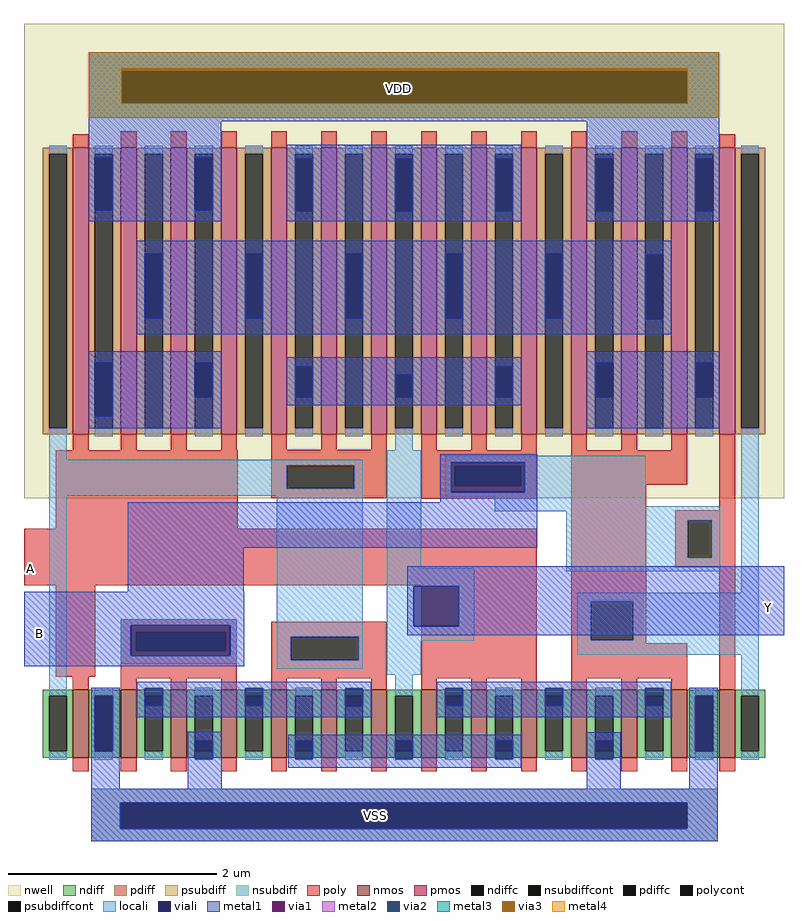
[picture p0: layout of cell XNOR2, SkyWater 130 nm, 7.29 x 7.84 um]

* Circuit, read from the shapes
.subckt XNOR2 A B VSS VDD Y
XM1 VSS A n1 VSS sky130_fd_pr__nfet_01v8 w=0.65 l=0.15
XM2 n2 B VSS VSS sky130_fd_pr__nfet_01v8 w=0.65 l=0.15 m=3
XM3 Y n1 n2 VSS sky130_fd_pr__nfet_01v8 w=0.65 l=0.15 m=3
XM4 n3 A Y VSS sky130_fd_pr__nfet_01v8 w=0.65 l=0.15 m=3
XM5 VSS n4 n3 VSS sky130_fd_pr__nfet_01v8 w=0.65 l=0.15 m=3
XM6 n4 B VSS VSS sky130_fd_pr__nfet_01v8 w=0.65 l=0.15
XM7 VDD A n1 VDD sky130_fd_pr__pfet_01v8 w=2.75 l=0.15
XM8 n5 A VDD VDD sky130_fd_pr__pfet_01v8 w=2.75 l=0.15 m=3
XM9 Y n1 n5 VDD sky130_fd_pr__pfet_01v8 w=2.75 l=0.15 m=3
XM10 n5 B Y VDD sky130_fd_pr__pfet_01v8 w=2.75 l=0.15 m=3
XM11 VDD n4 n5 VDD sky130_fd_pr__pfet_01v8 w=2.75 l=0.15 m=3
XM12 n4 B VDD VDD sky130_fd_pr__pfet_01v8 w=2.75 l=0.15
.ends

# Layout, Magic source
magic
tech sky130B
magscale 1 2
<< nwell >>
rect -87 864 1371 1775
<< nmos >>
rect 7 367 37 497
rect 99 367 129 497
rect 195 367 225 497
rect 291 367 321 497
rect 387 367 417 497
rect 483 367 513 497
rect 579 367 609 497
rect 675 367 705 497
rect 771 367 801 497
rect 867 367 897 497
rect 963 367 993 497
rect 1059 367 1089 497
rect 1155 367 1185 497
rect 1247 367 1277 497
<< pmos >>
rect 7 987 37 1537
rect 99 987 129 1537
rect 195 987 225 1537
rect 291 987 321 1537
rect 387 987 417 1537
rect 483 987 513 1537
rect 579 987 609 1537
rect 675 987 705 1537
rect 771 987 801 1537
rect 867 987 897 1537
rect 963 987 993 1537
rect 1059 987 1089 1537
rect 1155 987 1185 1537
rect 1247 987 1277 1537
<< ndiff >>
rect -51 485 7 497
rect -51 379 -39 485
rect -5 379 7 485
rect -51 367 7 379
rect 37 485 99 497
rect 37 379 49 485
rect 83 379 99 485
rect 37 367 99 379
rect 129 485 195 497
rect 129 379 145 485
rect 179 379 195 485
rect 129 367 195 379
rect 225 485 291 497
rect 225 379 241 485
rect 275 379 291 485
rect 225 367 291 379
rect 321 485 387 497
rect 321 379 337 485
rect 371 379 387 485
rect 321 367 387 379
rect 417 485 483 497
rect 417 379 433 485
rect 467 379 483 485
rect 417 367 483 379
rect 513 485 579 497
rect 513 379 529 485
rect 563 379 579 485
rect 513 367 579 379
rect 609 485 675 497
rect 609 379 625 485
rect 659 379 675 485
rect 609 367 675 379
rect 705 485 771 497
rect 705 379 721 485
rect 755 379 771 485
rect 705 367 771 379
rect 801 485 867 497
rect 801 379 817 485
rect 851 379 867 485
rect 801 367 867 379
rect 897 485 963 497
rect 897 379 913 485
rect 947 379 963 485
rect 897 367 963 379
rect 993 485 1059 497
rect 993 379 1009 485
rect 1043 379 1059 485
rect 993 367 1059 379
rect 1089 485 1155 497
rect 1089 379 1105 485
rect 1139 379 1155 485
rect 1089 367 1155 379
rect 1185 485 1247 497
rect 1185 379 1201 485
rect 1235 379 1247 485
rect 1185 367 1247 379
rect 1277 485 1335 497
rect 1277 379 1289 485
rect 1323 379 1335 485
rect 1277 367 1335 379
<< pdiff >>
rect -51 1525 7 1537
rect -51 999 -39 1525
rect -5 999 7 1525
rect -51 987 7 999
rect 37 1525 99 1537
rect 37 999 49 1525
rect 83 999 99 1525
rect 37 987 99 999
rect 129 1525 195 1537
rect 129 999 145 1525
rect 179 999 195 1525
rect 129 987 195 999
rect 225 1525 291 1537
rect 225 999 241 1525
rect 275 999 291 1525
rect 225 987 291 999
rect 321 1525 387 1537
rect 321 999 337 1525
rect 371 999 387 1525
rect 321 987 387 999
rect 417 1525 483 1537
rect 417 999 433 1525
rect 467 999 483 1525
rect 417 987 483 999
rect 513 1525 579 1537
rect 513 999 529 1525
rect 563 999 579 1525
rect 513 987 579 999
rect 609 1525 675 1537
rect 609 999 625 1525
rect 659 999 675 1525
rect 609 987 675 999
rect 705 1525 771 1537
rect 705 999 721 1525
rect 755 999 771 1525
rect 705 987 771 999
rect 801 1525 867 1537
rect 801 999 817 1525
rect 851 999 867 1525
rect 801 987 867 999
rect 897 1525 963 1537
rect 897 999 913 1525
rect 947 999 963 1525
rect 897 987 963 999
rect 993 1525 1059 1537
rect 993 999 1009 1525
rect 1043 999 1059 1525
rect 993 987 1059 999
rect 1089 1525 1155 1537
rect 1089 999 1105 1525
rect 1139 999 1155 1525
rect 1089 987 1155 999
rect 1185 1525 1247 1537
rect 1185 999 1201 1525
rect 1235 999 1247 1525
rect 1185 987 1247 999
rect 1277 1525 1335 1537
rect 1277 999 1289 1525
rect 1323 999 1335 1525
rect 1277 987 1335 999
<< ndiffc >>
rect -39 379 -5 485
rect 49 379 83 485
rect 145 379 179 485
rect 241 379 275 485
rect 337 379 371 485
rect 433 379 467 485
rect 529 379 563 485
rect 625 379 659 485
rect 721 379 755 485
rect 817 379 851 485
rect 913 379 947 485
rect 1009 379 1043 485
rect 1105 379 1139 485
rect 1201 379 1235 485
rect 1289 379 1323 485
<< pdiffc >>
rect -39 999 -5 1525
rect 49 999 83 1525
rect 145 999 179 1525
rect 241 999 275 1525
rect 337 999 371 1525
rect 433 999 467 1525
rect 529 999 563 1525
rect 625 999 659 1525
rect 721 999 755 1525
rect 817 999 851 1525
rect 913 999 947 1525
rect 1009 999 1043 1525
rect 1105 999 1139 1525
rect 1201 999 1235 1525
rect 1289 999 1323 1525
<< psubdiff >>
rect 42 280 1244 307
rect 42 230 98 280
rect 1185 230 1244 280
rect 42 206 1244 230
<< nsubdiff >>
rect 37 1683 1247 1720
rect 37 1622 100 1683
rect 1186 1622 1247 1683
rect 37 1594 1247 1622
<< psubdiffcont >>
rect 98 230 1185 280
<< nsubdiffcont >>
rect 100 1622 1186 1683
<< poly >>
rect 7 1537 37 1563
rect 99 1537 129 1568
rect 195 1537 225 1568
rect 291 1537 321 1568
rect 387 1537 417 1568
rect 483 1537 513 1568
rect 579 1537 609 1568
rect 675 1537 705 1568
rect 771 1537 801 1568
rect 867 1537 897 1568
rect 963 1537 993 1568
rect 1059 1537 1089 1568
rect 1155 1537 1185 1568
rect 1247 1537 1277 1563
rect 7 956 37 987
rect 99 956 129 987
rect 195 956 225 987
rect 291 956 321 987
rect 387 957 417 987
rect 483 957 513 987
rect 579 957 609 987
rect -26 806 323 956
rect 387 928 609 957
rect 387 883 417 928
rect 547 883 609 928
rect 387 864 609 883
rect 675 956 705 987
rect 771 956 801 987
rect 867 956 897 987
rect 675 926 897 956
rect 675 888 739 926
rect 866 888 897 926
rect 675 863 897 888
rect 963 956 993 987
rect 1059 956 1089 987
rect 1155 956 1185 987
rect 963 890 1185 956
rect -87 697 897 806
rect -26 522 50 697
rect 99 607 321 632
rect 99 572 128 607
rect 300 572 321 607
rect 7 497 37 522
rect 99 519 321 572
rect 99 497 129 519
rect 195 497 225 519
rect 291 497 321 519
rect 387 599 609 627
rect 387 554 425 599
rect 555 554 609 599
rect 387 519 609 554
rect 387 497 417 519
rect 483 497 513 519
rect 579 497 609 519
rect 675 519 897 697
rect 675 497 705 519
rect 771 497 801 519
rect 867 497 897 519
rect 963 667 1107 890
rect 1247 841 1277 987
rect 1162 822 1277 841
rect 1162 750 1186 822
rect 1232 750 1277 822
rect 1162 732 1277 750
rect 963 592 1000 667
rect 1082 592 1107 667
rect 963 586 1107 592
rect 963 519 1185 586
rect 963 497 993 519
rect 1059 497 1089 519
rect 1155 497 1185 519
rect 1247 497 1277 732
rect 7 341 37 367
rect 99 341 129 367
rect 195 341 225 367
rect 291 341 321 367
rect 387 341 417 367
rect 483 341 513 367
rect 579 341 609 367
rect 675 341 705 367
rect 771 341 801 367
rect 867 341 897 367
rect 963 341 993 367
rect 1059 341 1089 367
rect 1155 341 1185 367
rect 1247 341 1277 367
<< polycont >>
rect 417 883 547 928
rect 739 888 866 926
rect 128 572 300 607
rect 425 554 555 599
rect 1186 750 1232 822
rect 1000 592 1082 667
<< locali >>
rect 37 1683 1247 1720
rect 37 1622 100 1683
rect 1186 1622 1247 1683
rect 37 1594 1247 1622
rect -39 1525 -5 1541
rect -39 938 -5 999
rect 49 1525 83 1541
rect 49 983 83 999
rect 145 1525 179 1541
rect 145 983 179 999
rect 241 1525 275 1541
rect 241 983 275 999
rect 337 1525 371 1541
rect 337 983 371 999
rect 433 1525 467 1541
rect 433 983 467 999
rect 529 1525 563 1541
rect 529 983 563 999
rect 625 1525 659 1541
rect 625 956 659 999
rect 721 1525 755 1541
rect 721 983 755 999
rect 817 1525 851 1541
rect 817 983 851 999
rect 913 1525 947 1541
rect 913 983 947 999
rect 1009 1525 1043 1541
rect 1009 983 1043 999
rect 1105 1525 1139 1541
rect 1105 983 1139 999
rect 1201 1525 1235 1541
rect 1201 983 1235 999
rect 1289 1525 1323 1541
rect -39 928 563 938
rect -39 883 417 928
rect 547 883 563 928
rect -39 869 563 883
rect -39 485 -5 869
rect 99 621 321 632
rect 99 562 118 621
rect 309 562 321 621
rect 99 547 321 562
rect 398 599 563 869
rect 398 554 425 599
rect 555 554 563 599
rect 398 537 563 554
rect 609 730 675 956
rect 721 933 1106 946
rect 721 876 733 933
rect 874 876 1106 933
rect 721 868 1106 876
rect 816 849 1106 868
rect 816 839 1249 849
rect 953 822 1249 839
rect 953 750 1186 822
rect 1232 750 1249 822
rect 609 696 777 730
rect 953 724 1249 750
rect 609 619 661 696
rect 747 619 777 696
rect 1289 683 1323 999
rect 609 591 777 619
rect 974 667 1323 683
rect 974 592 1000 667
rect 1082 592 1323 667
rect 609 526 675 591
rect 974 564 1323 592
rect -39 363 -5 379
rect 49 485 83 501
rect 49 363 83 379
rect 145 500 179 501
rect 145 363 179 379
rect 241 485 275 501
rect 241 363 275 365
rect 337 500 371 501
rect 337 363 371 379
rect 433 485 467 501
rect 433 363 467 365
rect 529 499 563 501
rect 529 363 563 379
rect 625 485 659 526
rect 625 363 659 365
rect 721 500 755 501
rect 721 363 755 379
rect 817 485 851 501
rect 817 363 851 365
rect 913 500 947 501
rect 913 363 947 379
rect 1009 485 1043 501
rect 1009 363 1043 365
rect 1105 500 1139 501
rect 1105 363 1139 379
rect 1201 485 1235 501
rect 1201 363 1235 379
rect 1289 485 1323 564
rect 1289 363 1323 379
rect 42 280 1244 307
rect 42 230 98 280
rect 1185 230 1244 280
rect 42 206 1244 230
<< viali >>
rect 100 1622 1186 1683
rect 49 1417 83 1519
rect 49 1022 83 1124
rect 145 1209 179 1333
rect 241 1417 275 1519
rect 241 1058 275 1124
rect 337 1209 371 1333
rect 433 1415 467 1517
rect 433 1058 467 1118
rect 529 1209 563 1333
rect 625 1414 659 1516
rect 625 1058 659 1101
rect 721 1209 755 1333
rect 817 1414 851 1516
rect 817 1058 851 1118
rect 913 1209 947 1333
rect 1009 1414 1043 1516
rect 1009 1058 1043 1125
rect 1105 1208 1139 1332
rect 1201 1414 1235 1516
rect 1201 1058 1235 1125
rect 118 607 309 621
rect 118 572 128 607
rect 128 572 300 607
rect 300 572 309 607
rect 118 562 309 572
rect 733 926 874 933
rect 733 888 739 926
rect 739 888 866 926
rect 866 888 874 926
rect 733 876 874 888
rect 661 619 747 696
rect 49 379 83 485
rect 145 485 179 500
rect 145 466 179 485
rect 241 379 275 399
rect 241 365 275 379
rect 337 485 371 500
rect 337 466 371 485
rect 433 379 467 399
rect 433 365 467 379
rect 529 485 563 499
rect 529 465 563 485
rect 625 379 659 399
rect 625 365 659 379
rect 721 485 755 500
rect 721 466 755 485
rect 817 379 851 399
rect 817 365 851 379
rect 913 485 947 500
rect 913 466 947 485
rect 1009 379 1043 399
rect 1009 365 1043 379
rect 1105 485 1139 500
rect 1105 466 1139 485
rect 1201 379 1235 485
rect 98 230 1185 280
<< metal1 >>
rect 37 1683 1247 1720
rect 37 1622 100 1683
rect 1186 1622 1247 1683
rect 37 1588 1247 1622
rect 37 1519 291 1588
rect 37 1417 49 1519
rect 83 1417 241 1519
rect 275 1417 291 1519
rect 37 1396 291 1417
rect 417 1517 867 1543
rect 417 1415 433 1517
rect 467 1516 867 1517
rect 467 1415 625 1516
rect 417 1414 625 1415
rect 659 1414 817 1516
rect 851 1414 867 1516
rect 417 1396 867 1414
rect 993 1516 1247 1588
rect 993 1414 1009 1516
rect 1043 1414 1201 1516
rect 1235 1414 1247 1516
rect 993 1396 1247 1414
rect 129 1333 1155 1358
rect 129 1209 145 1333
rect 179 1209 337 1333
rect 371 1209 529 1333
rect 563 1209 721 1333
rect 755 1209 913 1333
rect 947 1332 1155 1333
rect 947 1209 1105 1332
rect 129 1208 1105 1209
rect 1139 1208 1155 1332
rect 129 1179 1155 1208
rect 37 1124 291 1146
rect 37 1022 49 1124
rect 83 1058 241 1124
rect 275 1058 291 1124
rect 83 1022 291 1058
rect 417 1118 867 1135
rect 417 1058 433 1118
rect 467 1101 817 1118
rect 467 1058 625 1101
rect 659 1058 817 1101
rect 851 1058 867 1118
rect 417 1043 867 1058
rect 993 1125 1247 1146
rect 993 1058 1009 1125
rect 1043 1058 1201 1125
rect 1235 1058 1247 1125
rect 37 999 291 1022
rect 993 999 1247 1058
rect 712 933 898 949
rect 712 876 733 933
rect 874 876 898 933
rect 712 857 898 876
rect 112 769 898 857
rect 112 685 335 769
rect 648 696 1371 734
rect -87 621 336 685
rect -87 562 118 621
rect 309 562 336 621
rect 648 619 661 696
rect 747 619 1371 696
rect 648 602 1371 619
rect -87 542 336 562
rect 42 485 97 501
rect 42 379 49 485
rect 83 379 97 485
rect 129 500 579 512
rect 129 466 145 500
rect 179 466 337 500
rect 371 499 579 500
rect 371 466 529 499
rect 129 465 529 466
rect 563 465 579 499
rect 129 444 579 465
rect 705 500 1155 512
rect 705 466 721 500
rect 755 466 913 500
rect 947 466 1105 500
rect 1139 466 1155 500
rect 705 444 1155 466
rect 1189 485 1244 501
rect 42 307 97 379
rect 227 399 292 416
rect 227 365 241 399
rect 275 365 292 399
rect 227 307 292 365
rect 420 399 867 411
rect 420 365 433 399
rect 467 365 625 399
rect 659 365 817 399
rect 851 365 867 399
rect 420 347 867 365
rect 993 399 1058 415
rect 993 365 1009 399
rect 1043 365 1058 399
rect 993 307 1058 365
rect 1189 379 1201 485
rect 1235 379 1244 485
rect 1189 307 1244 379
rect 42 280 1244 307
rect 42 230 98 280
rect 1185 230 1244 280
rect 42 206 1244 230
<< via1 >>
rect 100 1622 1186 1683
<< metal2 >>
rect 37 1683 1247 1720
rect 37 1622 100 1683
rect 1186 1622 1247 1683
rect 37 1594 1247 1622
<< via2 >>
rect 100 1622 1186 1683
<< metal3 >>
rect 37 1688 1247 1720
rect 37 1622 100 1688
rect 1186 1622 1247 1688
rect 37 1594 1247 1622
<< via3 >>
rect 100 1683 1186 1688
rect 100 1622 1186 1683
<< metal4 >>
rect 37 1688 1247 1720
rect 37 1622 100 1688
rect 1186 1622 1247 1688
rect 37 1594 1247 1622
<< labels >>
flabel poly -82 728 -68 732 0 FreeSans 160 0 0 0 A
port 0 nsew
flabel metal1 -68 580 -48 630 0 FreeSans 160 0 0 0 B
port 1 nsew
flabel metal1 578 230 598 280 0 FreeSans 160 0 0 0 VSS
port 2 nsew
rlabel metal1 608 1628 654 1672 1 VDD
port 3 nsew
flabel metal1 1318 632 1364 676 0 FreeSans 160 0 0 0 Y
port 4 nsew
<< end >>
